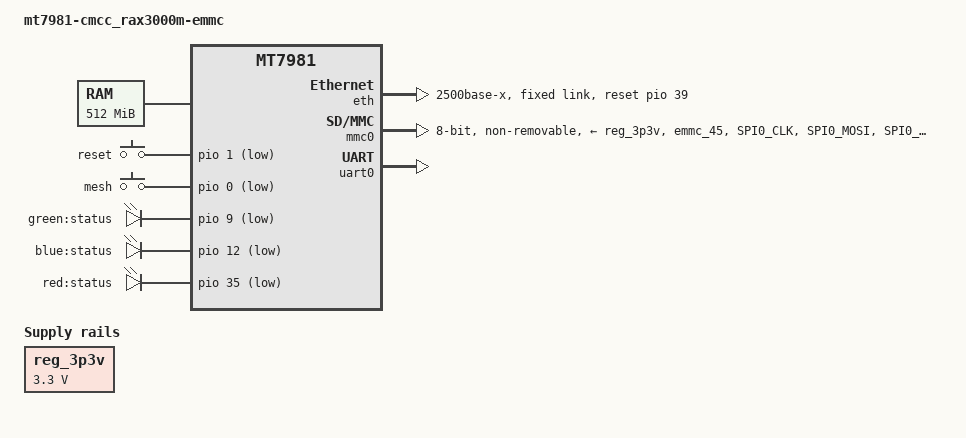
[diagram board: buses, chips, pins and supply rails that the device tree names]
// SPDX-License-Identifier: GPL-2.0-or-later OR MIT

/dts-v1/;
#include "mt7981.dtsi"
#include <dt-bindings/gpio/gpio.h>

/ {
	#address-cells = <1>;
	#size-cells = <1>;
	model = "mt7981-cmcc_rax3000m-emmc";
	compatible = "mediatek,mt7981", "mediatek,mt7981-rfb";

	chosen {
		stdout-path = &uart0;
		tick-timer = &timer0;
	};

	config {
		bootcmd = "mtkboardboot";
		blink_led = "blue:status";
		system_led = "red:status";
	};

	memory@40000000 {
		device_type = "memory";
		reg = <0x40000000 0x20000000>;
	};

	gpio-keys {
		compatible = "gpio-keys";

		button-reset {
			label = "reset";
			linux,code = <KEY_RESTART>;
			gpios = <&pio 1 GPIO_ACTIVE_LOW>;
		};

		button-mesh {
			label = "mesh";
			linux,code = <BTN_9>;
			gpios = <&pio 0 GPIO_ACTIVE_LOW>;
		};
	};

	leds {
		compatible = "gpio-leds";

		led-0 {
			label = "green:status";
			gpios = <&pio 9 GPIO_ACTIVE_LOW>;
		};

		led-1 {
			label = "blue:status";
			gpios = <&pio 12 GPIO_ACTIVE_LOW>;
		};

		led-2 {
			label = "red:status";
			gpios = <&pio 35 GPIO_ACTIVE_LOW>;
		};
	};

	reg_3p3v: regulator-3p3v {
		  compatible = "regulator-fixed";
		  regulator-name = "fixed-3.3V";
		  regulator-min-microvolt = <3300000>;
		  regulator-max-microvolt = <3300000>;
		  regulator-boot-on;
		  regulator-always-on;
	};

	bl2_verify {
		bl2_compatible = "emmc";
	};
};

&eth {
	status = "okay";
	mediatek,gmac-id = <0>;
	phy-mode = "2500base-x";
	mediatek,switch = "auto";
	reset-gpios = <&pio 39 GPIO_ACTIVE_HIGH>;

	fixed-link {
		speed = <2500>;
		full-duplex;
	};
};

&mmc0 {
	pinctrl-names = "default";
	pinctrl-0 = <&mmc0_pins_default>;
	bus-width = <8>;
	max-frequency = <26000000>;
	cap-mmc-hw-reset;
	vmmc-supply = <&reg_3p3v>;
	non-removable;
	status = "okay";
};

&pio {
	spic_pins: spi1-pins-func-1 {
		mux {
			function = "spi";
			groups = "spi1_1";
		};
	};

	mmc0_pins_default: mmc0default {
		mux {
			function = "flash";
			groups = "emmc_45";
		};
		conf-cmd-dat {
			pins = "SPI0_CLK", "SPI0_MOSI", "SPI0_MISO",
				"SPI0_CS",  "SPI0_HOLD", "SPI0_WP",
				"SPI1_CLK", "SPI1_MOSI", "SPI1_MISO";
			input-enable;
			drive-strength = <MTK_DRIVE_4mA>;
			bias-pull-up = <MTK_PUPD_SET_R1R0_01>;
		};
		conf-clk {
			pins = "SPI1_CS";
			drive-strength = <MTK_DRIVE_6mA>;
			bias-pull-down = <MTK_PUPD_SET_R1R0_10>;
		};
		conf-rst {
			pins = "PWM0";
			drive-strength = <MTK_DRIVE_4mA>;
			bias-pull-up = <MTK_PUPD_SET_R1R0_01>;
		};
	};
};

&uart0 {
	status = "okay";
};

&watchdog {
	status = "disabled";
};
